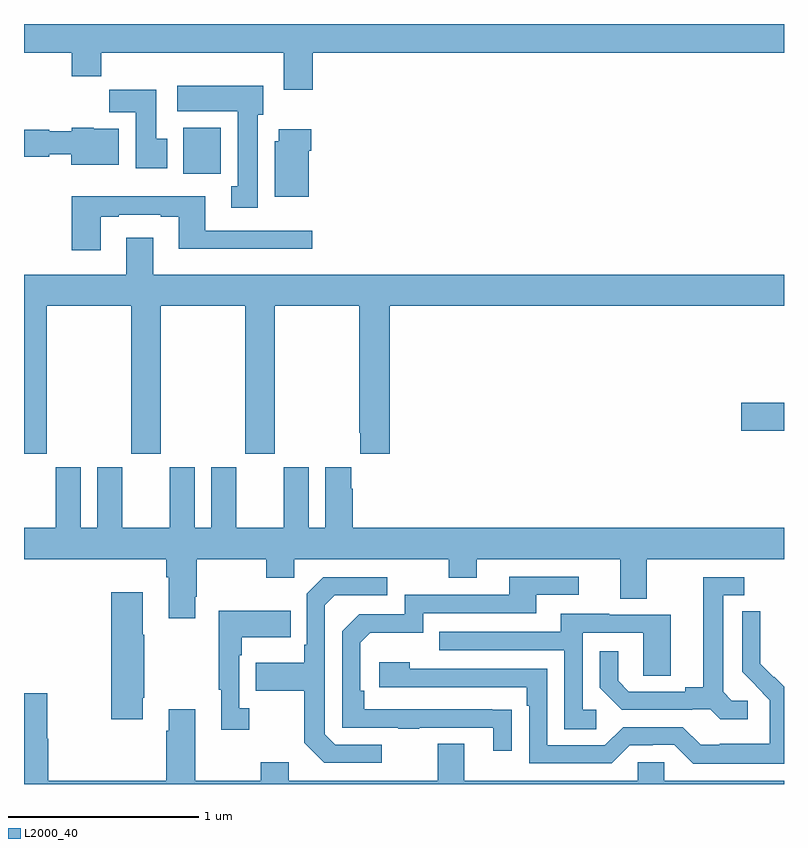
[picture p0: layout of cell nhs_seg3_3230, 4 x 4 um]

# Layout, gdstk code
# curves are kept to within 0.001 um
import gdstk
lib = gdstk.Library(unit=1e-6, precision=1e-09)
def R(c, l, rs):  # rectangles x0, y0, x1, y1
    for r in rs: c.add(gdstk.rectangle(r[:2], r[2:], *l))
def P(c, l, *ps):  # polygons
    for p in ps: c.add(gdstk.Polygon(p, *l))
L2000_40 = (2000, 40)

nhs_seg3_3230 = lib.new_cell('nhs_seg3_3230')
R(nhs_seg3_3230, L2000_40, [(282.774,700.259,283,700.406), (279.839,701.612,280.036,701.854)])
P(nhs_seg3_3230, L2000_40, [(280.52,702.248),(283,702.248),(283,702.4),(279,702.4),(279,702.248),(279.251,702.248),(279.251,702.124),(279.407,702.124),(279.407,702.248),(280.367,702.248),(280.367,702.054),(280.52,702.054)],
  [(280.231,701.922),(280.258,701.922),(280.258,702.076),(279.807,702.076),(279.807,701.942),(280.124,701.942),(280.124,701.546),(280.091,701.546),(280.091,701.433),(280.231,701.433)],
  [(279.754,701.796),(279.697,701.796),(279.697,702.055),(279.448,702.055),(279.448,701.936),(279.587,701.936),(279.587,701.64),(279.754,701.64)],
  [(279.499,701.848),(279.366,701.848),(279.366,701.854),(279.252,701.854),(279.252,701.836),(279.132,701.836),(279.132,701.844),(279,701.844),(279,701.702),(279.132,701.702),(279.132,701.714),(279.248,701.714),(279.248,701.66),(279.499,701.66)],
  [(280.498,701.732),(280.511,701.732),(280.511,701.845),(280.34,701.845),(280.34,701.784),(280.319,701.784),(280.319,701.492),(280.498,701.492)],
  [(279.403,701.385),(279.499,701.385),(279.499,701.397),(279.719,701.397),(279.719,701.385),(279.815,701.385),(279.815,701.216),(280.516,701.216),(280.516,701.313),(279.955,701.313),(279.955,701.494),(279.251,701.494),(279.251,701.208),(279.403,701.208)],
  [(279.12,700.916),(279.565,700.916),(279.565,700.137),(279.72,700.137),(279.72,700.916),(280.165,700.916),(280.165,700.137),(280.32,700.137),(280.32,700.916),(280.765,700.916),(280.765,700.249),(280.769,700.249),(280.769,700.137),(280.925,700.137),(280.925,700.916),(283,700.916),(283,701.08),(279.679,701.08),(279.679,701.275),(279.539,701.275),(279.539,701.08),(279,701.08),(279,700.137),(279.12,700.137)],
  [(279.901,699.385),(279.909,699.385),(279.909,699.584),(280.276,699.584),(280.276,699.485),(280.422,699.485),(280.422,699.584),(281.236,699.584),(281.236,699.485),(281.383,699.485),(281.383,699.584),(282.137,699.584),(282.137,699.376),(282.277,699.376),(282.277,699.584),(283,699.584),(283,699.748),(280.73,699.748),(280.73,699.953),(280.723,699.953),(280.723,700.066),(280.586,700.066),(280.586,699.748),(280.498,699.748),(280.498,700.066),(280.367,700.066),(280.367,699.748),(280.117,699.748),(280.117,700.066),(279.986,700.066),(279.986,699.748),(279.898,699.748),(279.898,700.066),(279.767,700.066),(279.767,699.748),(279.517,699.748),(279.517,700.066),(279.386,700.066),(279.386,699.748),(279.298,699.748),(279.298,700.066),(279.167,700.066),(279.167,699.748),(279,699.748),(279,699.584),(279.749,699.584),(279.749,699.488),(279.761,699.488),(279.761,699.273),(279.901,699.273)],
  [(281.567,698.792),(280.79,698.793),(280.79,698.89),(280.77,698.89),(280.77,699.144),(280.823,699.197),(281.1,699.197),(281.1,699.3),(281.695,699.3),(281.695,699.396),(281.92,699.396),(281.92,699.492),(281.555,699.492),(281.555,699.396),(281.004,699.396),(281.004,699.294),(280.764,699.294),(280.674,699.204),(280.674,698.697),(280.969,698.697),(280.969,698.692),(281.081,698.692),(281.081,698.697),(281.471,698.697),(281.471,698.574),(281.567,698.574)],
  [(280.882,698.607),(280.638,698.607),(280.584,698.661),(280.584,699.342),(280.635,699.393),(280.912,699.393),(280.912,699.489),(280.575,699.489),(280.488,699.402),(280.488,699.133),(280.476,699.133),(280.476,699.037),(280.219,699.037),(280.219,698.89),(280.476,698.89),(280.476,698.617),(280.581,698.511),(280.882,698.511)],
  [(282.808,698.838),(282.726,698.838),(282.679,698.885),(282.679,699.393),(282.79,699.393),(282.79,699.489),(282.575,699.489),(282.575,698.909),(282.479,698.909),(282.479,698.886),(282.184,698.886),(282.127,698.943),(282.127,699.1),(282.03,699.1),(282.03,698.906),(282.146,698.79),(282.518,698.79),(282.518,698.793),(282.612,698.793),(282.664,698.741),(282.808,698.741)],
  [(279.625,698.854),(279.633,698.854),(279.633,699.185),(279.625,699.185),(279.625,699.409),(279.458,699.409),(279.458,698.742),(279.625,698.742)],
  [(280.186,698.798),(280.134,698.798),(280.134,699.077),(280.147,699.077),(280.147,699.173),(280.403,699.173),(280.403,699.313),(280.026,699.313),(280.026,698.897),(280.037,698.897),(280.037,698.685),(280.186,698.685)],
  [(283,698.912),(282.948,698.964),(282.945,698.961),(282.875,699.032),(282.876,699.308),(282.78,699.308),(282.78,698.99),(282.926,698.842),(282.926,698.745),(282.924,698.745),(282.924,698.611),(282.661,698.611),(282.661,698.607),(282.561,698.607),(282.468,698.7),(282.153,698.7),(282.057,698.604),(281.754,698.604),(281.754,699.006),(281.03,699.006),(281.03,699.04),(280.869,699.04),(280.869,698.91),(281.645,698.91),(281.645,698.813),(281.658,698.813),(281.658,698.508),(282.093,698.508),(282.189,698.604),(282.308,698.604),(282.308,698.607),(282.423,698.607),(282.523,698.507),(283,698.507)],
  [(282.013,698.79),(281.94,698.79),(281.94,699.195),(282.258,699.195),(282.258,698.971),(282.403,698.971),(282.403,699.291),(282.079,699.291),(282.079,699.295),(281.825,699.295),(281.825,699.201),(281.185,699.201),(281.185,699.105),(281.844,699.105),(281.844,698.689),(282.013,698.689)],
  [(283,698.416),(282.369,698.416),(282.369,698.514),(282.231,698.514),(282.231,698.416),(281.317,698.416),(281.317,698.611),(281.177,698.611),(281.177,698.416),(280.393,698.416),(280.393,698.515),(280.246,698.515),(280.246,698.416),(279.901,698.416),(279.901,698.794),(279.761,698.794),(279.761,698.681),(279.749,698.681),(279.749,698.416),(279.128,698.416),(279.128,698.639),(279.123,698.639),(279.123,698.878),(279,698.878),(279,698.4),(283,698.4)])

lib.write_gds('nhs_seg3_3230.gds')
